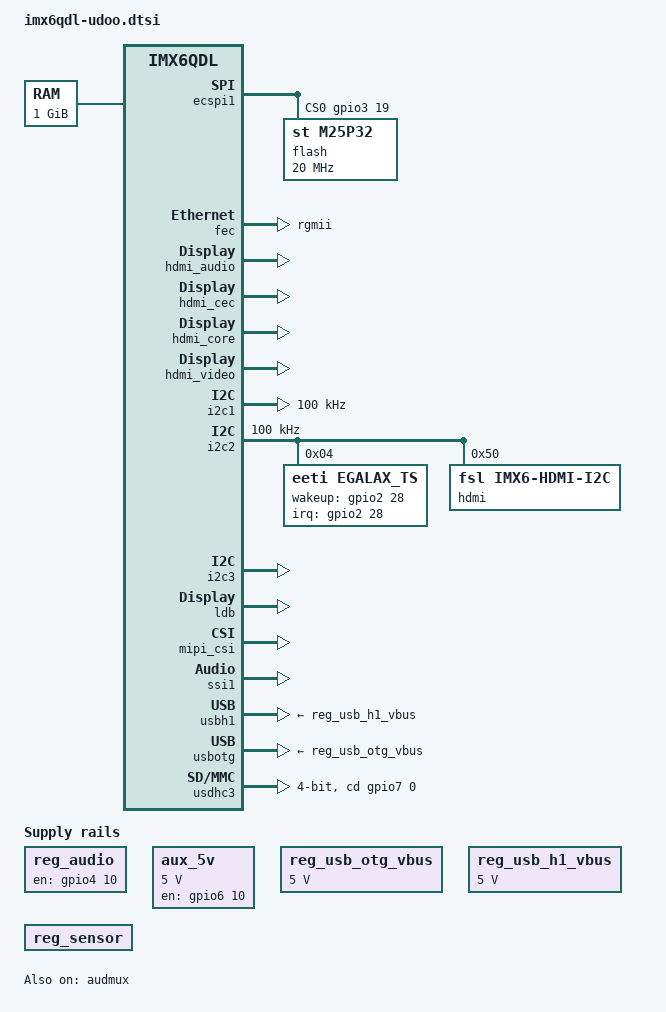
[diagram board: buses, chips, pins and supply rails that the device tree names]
/*
 * Copyright 2012 Freescale Semiconductor, Inc.
 * Copyright 2011 Linaro Ltd.
 *
 * The code contained herein is licensed under the GNU General Public
 * License. You may obtain a copy of the GNU General Public License
 * Version 2 or later at the following locations:
 *
 * http://www.opensource.org/licenses/gpl-license.html
 * http://www.gnu.org/copyleft/gpl.html
 */

/ {
	aliases {
		mxcfb0 = &mxcfb1;
		mxcfb1 = &mxcfb2;
		mxcfb2 = &mxcfb3;
		mxcfb3 = &mxcfb4;
	};

	memory {
                reg = <0x10000000 0x40000000>;

	};

//	clocks {
//		codec_osc: codec_osc {
//			compatible = "fixed-clock";
//			#clock-cells = <0>;
//			clock-frequency = <24576000>;
//		};
//	};
//
//	gpio-keys {
//		compatible = "gpio-keys";
//                power {
//                        label = "Power Button";
//                        gpios = <&gpio3 29 0>;
//                        linux,code = <116>; /* KEY_POWER */
//                        gpio-key,wakeup;
//                };
//
//                volume-up {
//                        label = "Volume Up";
//                        gpios = <&gpio1 4 0>;
//                        linux,code = <115>; /* KEY_VOLUMEUP */
//                };
//
//                volume-down {
//                        label = "Volume Down";
//                        gpios = <&gpio1 5 0>;
//                        linux,code = <114>; /* KEY_VOLUMEDOWN */
//                };
//	};

        mxcfb1: fb@0 {
                compatible = "fsl,mxc_sdc_fb";
                disp_dev = "hdmi";
                interface_pix_fmt = "RGB24";
                mode_str ="1920x1080M@60";
                default_bpp = <24>;
                int_clk = <0>;
                late_init = <0>;
                status = "okay";
        };

        mxcfb2: fb@1 {
                compatible = "fsl,mxc_sdc_fb";
                disp_dev = "hdmi";
                interface_pix_fmt = "RGB24";
                mode_str ="1920x1080M@60";
                default_bpp = <24>;
                int_clk = <0>;
                late_init = <0>;
                status = "disabled";
        };

        mxcfb3: fb@2 {
                compatible = "fsl,mxc_sdc_fb";
                disp_dev = "hdmi";
                interface_pix_fmt = "RGB24";
                mode_str ="1920x1080M@60";
                default_bpp = <24>;
                int_clk = <0>;
                late_init = <0>;
                status = "disabled";
        };

        mxcfb4: fb@3 {
                compatible = "fsl,mxc_sdc_fb";
                disp_dev = "hdmi";
                interface_pix_fmt = "RGB24";
                mode_str ="1920x1080M@60";
                default_bpp = <24>;
                int_clk = <0>;
                late_init = <0>;
                status = "disabled";
        };

        lcd@0 {
                compatible = "fsl,lcd";
                ipu_id = <0>;
                disp_id = <0>;
                default_ifmt = "RGB565";
                pinctrl-names = "default";
                pinctrl-0 = <&pinctrl_ipu1_1>;
                status = "disabled";
        };

        lvds_cabc_ctrl {
                lvds0-gpios = <&gpio6 15 0>;
                lvds1-gpios = <&gpio6 16 0>;
        };

	regulators {
		compatible = "simple-bus";
                reg_audio: 8962_supply {
                        compatible = "regulator-fixed";
                        regulator-name = "8962-SUPPLY";
                        gpio = <&gpio4 10 0>;
                        enable-active-high;
                };

                aux_5v: aux5v {
                        compatible = "regulator-fixed";
                        regulator-name = "AUX_5V";
                        regulator-min-microvolt = <5000000>;
                        regulator-max-microvolt = <5000000>;
                        gpio = <&gpio6 10 1>;
                        regulator-boot-on;
                        enable-active-high;
                };

                reg_usb_otg_vbus: usb_otg_vbus {
                        compatible = "regulator-fixed";
                        regulator-name = "usb_otg_vbus";
                        regulator-min-microvolt = <5000000>;
                        regulator-max-microvolt = <5000000>;
                        enable-active-high;
                };

                reg_usb_h1_vbus: usb_h1_vbus {
                        compatible = "regulator-fixed";
                        regulator-name = "usb_h1_vbus";
                        regulator-min-microvolt = <5000000>;
                        regulator-max-microvolt = <5000000>;
                        startup-delay-us = <2>; /* USB2415 requires a POR of 1 us minimum */
                        enable-active-high;
                };

                reg_sensor: sensor_supply {
                        compatible = "regulator-fixed";
                        regulator-name = "sensor-SUPPLY";
                        enable-active-high;
                };
	};

	codec: vt1613 {
		compatible = "wlf,vt1613";
		amic-mono;
       };

	sound {
		compatible = "fsl,imx6q-udoo-vt1613",
			   "fsl,imx-audio-vt1613";
		model = "vt1613-audio";
		ssi-controller = <&ssi1>;
		audio-codec = <&codec>;
		audio-routing =
			"Headphone Jack", "HPOUTL",
			"Headphone Jack", "HPOUTR",
			"Ext Spk", "SPKOUTL",
			"Ext Spk", "SPKOUTR",
			"MICBIAS", "AMIC",
			"IN3R", "MICBIAS",
			"DMIC", "MICBIAS",
			"DMICDAT", "DMIC";
		mux-int-port = <1>;
		mux-ext-port = <6>;
	};
//		hp-det-gpios = <&gpio7 8 1>;
//		mic-det-gpios = <&gpio1 9 1>;

	sound-hdmi {
		compatible = "fsl,imx6q-audio-hdmi",
			     "fsl,imx-audio-hdmi";
		model = "imx-audio-hdmi";
		hdmi-controller = <&hdmi_audio>;
	};

	sound-spdif {
		compatible = "fsl,imx-audio-spdif",
			   "fsl,imx-sabreauto-spdif";
		model = "imx-spdif";
		spdif-controller = <&spdif>;
		spdif-in;
		status = "disabled";
	};

	v4l2_cap_0 {
		compatible = "fsl,imx6q-v4l2-capture";
		ipu_id = <0>;
		csi_id = <0>;
		mclk_source = <0>;
		status = "okay";
	};

	v4l2_cap_1 {
		compatible = "fsl,imx6q-v4l2-capture";
		ipu_id = <0>;
		csi_id = <1>;
		mclk_source = <0>;
		status = "okay";
	};

	v4l2_out {
		compatible = "fsl,mxc_v4l2_output";
		status = "okay";
	};
};

&audmux {
	pinctrl-names = "default";
	pinctrl-0 = <&pinctrl_audmux_4>;
	status = "okay";
};

&ecspi1 {
	fsl,spi-num-chipselects = <1>;
	cs-gpios = <&gpio3 19 0>;
	pinctrl-names = "default";
	pinctrl-0 = <&pinctrl_ecspi1_1>;

	flash: m25p80@0 {
		#address-cells = <1>;
		#size-cells = <1>;
		compatible = "st,m25p32";
		spi-max-frequency = <20000000>;
		reg = <0>;
	};
};

&fec {
	pinctrl-names = "default";
	pinctrl-0 = <&pinctrl_enet_1>;
	driver-can-reset = "no";
	phy-mode = "rgmii";
	phy-poweron = <&gpio2 31 0>;
	phy-reset-gpio = <&gpio3 23 0>;
	phy-clk125-en = <&gpio6 24 1>;
	phy-mode0 = <&gpio6 29 1>;
	phy-mode1 = <&gpio6 28 1>;
	phy-mode2 = <&gpio6 27 1>;
	phy-mode3 = <&gpio6 25 1>;
	status = "okay";
};

&gpc {
	fsl,cpu_pupscr_sw2iso = <0xf>;
	fsl,cpu_pupscr_sw = <0xf>;
	fsl,cpu_pdnscr_iso2sw = <0x1>;
	fsl,cpu_pdnscr_iso = <0x1>;
};

&hdmi_audio {
	status = "okay";
};

&hdmi_cec {
	pinctrl-names = "default";
	pinctrl-0 = <&pinctrl_hdmi_cec_1>;
	status = "okay";
};

&hdmi_core {
	ipu_id = <0>;
	disp_id = <1>;
	status = "okay";
};

&hdmi_video {
	fsl,phy_reg_vlev = <0x0294>;
	fsl,phy_reg_cksymtx = <0x800d>;
	status = "okay";
};

&i2c1 {
	clock-frequency = <100000>;
	pinctrl-names = "default";
	pinctrl-0 = <&pinctrl_i2c1_2>;
	status = "okay";
};

&i2c2 {
	clock-frequency = <100000>;
	pinctrl-names = "default";
	pinctrl-0 = <&pinctrl_i2c2_2>;
	status = "okay";

	egalax_ts@04 {
		compatible = "eeti,egalax_ts";
		reg = <0x04>;
		interrupt-parent = <&gpio2>;
		interrupts = <28 2>;
		wakeup-gpios = <&gpio2 28 0>;
	};

	hdmi: edid@50 {
		compatible = "fsl,imx6-hdmi-i2c";
		reg = <0x50>;
	};
};

&i2c3 {
	pinctrl-names = "default";
	pinctrl-0 = <&pinctrl_i2c3_5>;
	status = "okay";
};

&iomuxc {
	pinctrl-names = "default";
	pinctrl-0 = <&pinctrl_hog>;

	hog {
		pinctrl_hog: hoggrp {
			fsl,pins = <
				MX6QDL_PAD_GPIO_0__GPIO1_IO00     0x80000000
				MX6QDL_PAD_GPIO_1__GPIO1_IO01     0x80000000
				MX6QDL_PAD_GPIO_2__GPIO1_IO02     0x80000000
				MX6QDL_PAD_GPIO_3__GPIO1_IO03     0x30B1
				MX6QDL_PAD_GPIO_4__GPIO1_IO04     0x80000000
				MX6QDL_PAD_GPIO_7__GPIO1_IO07     0x80000000
				MX6QDL_PAD_GPIO_8__GPIO1_IO08     0x80000000
				MX6QDL_PAD_GPIO_9__GPIO1_IO09     0x80000000
				MX6QDL_PAD_SD2_DAT2__GPIO1_IO13   0x34B1
				MX6QDL_PAD_SD2_DAT0__GPIO1_IO15   0x80000000
				MX6QDL_PAD_SD1_DAT0__GPIO1_IO16   0x80000000
				MX6QDL_PAD_SD1_DAT1__GPIO1_IO17   0x80000000
				MX6QDL_PAD_SD1_CMD__GPIO1_IO18    0x80000000
				MX6QDL_PAD_SD1_DAT2__GPIO1_IO19   0x80000000
				MX6QDL_PAD_SD1_CLK__GPIO1_IO20    0x80000000
				MX6QDL_PAD_SD1_DAT3__GPIO1_IO21   0x80000000
				MX6QDL_PAD_ENET_TX_EN__GPIO1_IO28 0x80000000
				MX6QDL_PAD_NANDF_D0__GPIO2_IO00   0x80000000
				MX6QDL_PAD_NANDF_D1__GPIO2_IO01   0x80000000
				MX6QDL_PAD_NANDF_D2__GPIO2_IO02   0x80000000
				MX6QDL_PAD_NANDF_D3__GPIO2_IO03   0x80000000
				MX6QDL_PAD_NANDF_D4__GPIO2_IO04   0x80000000
				MX6QDL_PAD_NANDF_D5__GPIO2_IO05   0x80000000
				MX6QDL_PAD_SD4_DAT0__GPIO2_IO08   0x80000000
				MX6QDL_PAD_SD4_DAT1__GPIO2_IO09   0x80000000
				MX6QDL_PAD_SD4_DAT2__GPIO2_IO10   0x80000000
				MX6QDL_PAD_SD4_DAT7__GPIO2_IO15   0x80000000
				MX6QDL_PAD_EIM_A22__GPIO2_IO16    0x80000000
				MX6QDL_PAD_EIM_A21__GPIO2_IO17    0x80000000
				MX6QDL_PAD_EIM_A20__GPIO2_IO18    0x80000000
				MX6QDL_PAD_EIM_A19__GPIO2_IO19    0x80000000
				MX6QDL_PAD_EIM_A18__GPIO2_IO20    0x80000000
				MX6QDL_PAD_EIM_A17__GPIO2_IO21    0x80000000
				MX6QDL_PAD_EIM_A16__GPIO2_IO22    0x80000000
				MX6QDL_PAD_EIM_CS0__GPIO2_IO23    0x80000000
				MX6QDL_PAD_EIM_CS1__GPIO2_IO24    0x80000000
				MX6QDL_PAD_EIM_OE__GPIO2_IO25     0x80000000
				MX6QDL_PAD_EIM_EB2__GPIO2_IO30    0x80000000
				MX6QDL_PAD_EIM_EB3__GPIO2_IO31    0x80000000
				MX6QDL_PAD_EIM_D19__GPIO3_IO19    0x80000000
				MX6QDL_PAD_EIM_D23__GPIO3_IO23    0x80000000
				MX6QDL_PAD_EIM_D24__GPIO3_IO24    0x80000000
				MX6QDL_PAD_EIM_D25__GPIO3_IO25    0x80000000
				MX6QDL_PAD_GPIO_19__GPIO4_IO05    0x80000000
				MX6QDL_PAD_KEY_COL0__GPIO4_IO06   0x80000000
				MX6QDL_PAD_KEY_ROW0__GPIO4_IO07   0x80000000
				MX6QDL_PAD_KEY_COL1__GPIO4_IO08   0x80000000
				MX6QDL_PAD_KEY_ROW1__GPIO4_IO09   0x80000000
				MX6QDL_PAD_DISP0_DAT0__GPIO4_IO21 0x30B1
				MX6QDL_PAD_DISP0_DAT5__GPIO4_IO26 0x80000000
				MX6QDL_PAD_DISP0_DAT6__GPIO4_IO27 0x80000000
				MX6QDL_PAD_DISP0_DAT7__GPIO4_IO28 0x80000000
				MX6QDL_PAD_DISP0_DAT8__GPIO4_IO29 0x80000000
				MX6QDL_PAD_DISP0_DAT9__GPIO4_IO30 0x80000000
				MX6QDL_PAD_DISP0_DAT10__GPIO4_IO31        0x80000000
				MX6QDL_PAD_EIM_WAIT__GPIO5_IO00   0xB0B1
				MX6QDL_PAD_EIM_A25__GPIO5_IO02    0x80000000
				MX6QDL_PAD_EIM_A24__GPIO5_IO04    0x80000000
				MX6QDL_PAD_DISP0_DAT11__GPIO5_IO05        0x80000000
				MX6QDL_PAD_DISP0_DAT12__GPIO5_IO06        0x80000000
				MX6QDL_PAD_DISP0_DAT13__GPIO5_IO07        0x80000000
				MX6QDL_PAD_DISP0_DAT14__GPIO5_IO08        0x80000000
				MX6QDL_PAD_DISP0_DAT15__GPIO5_IO09        0x80000000
				MX6QDL_PAD_DISP0_DAT16__GPIO5_IO10        0x80000000
				MX6QDL_PAD_DISP0_DAT17__GPIO5_IO11        0x80000000
				MX6QDL_PAD_DISP0_DAT18__GPIO5_IO12        0x80000000
				MX6QDL_PAD_DISP0_DAT19__GPIO5_IO13        0x80000000
				MX6QDL_PAD_DISP0_DAT20__GPIO5_IO14        0x80000000
				MX6QDL_PAD_DISP0_DAT21__GPIO5_IO15        0x80000000
				MX6QDL_PAD_DISP0_DAT22__GPIO5_IO16        0x80000000
				MX6QDL_PAD_DISP0_DAT23__GPIO5_IO17        0x80000000
				MX6QDL_PAD_CSI0_PIXCLK__GPIO5_IO18        0x80000000
				MX6QDL_PAD_CSI0_DAT4__GPIO5_IO22  0x80000000
				MX6QDL_PAD_CSI0_DAT10__GPIO5_IO28 0x80000000
				MX6QDL_PAD_CSI0_DAT11__GPIO5_IO29 0x80000000
				MX6QDL_PAD_CSI0_DAT13__GPIO5_IO31 0x80000000
				MX6QDL_PAD_CSI0_DAT12__GPIO5_IO30 0x80000000
				MX6QDL_PAD_CSI0_DAT14__GPIO6_IO00 0x80000000
				MX6QDL_PAD_CSI0_DAT15__GPIO6_IO01 0x80000000
				MX6QDL_PAD_CSI0_DAT16__GPIO6_IO02 0x80000000
				MX6QDL_PAD_CSI0_DAT17__GPIO6_IO03 0x80000000
				MX6QDL_PAD_CSI0_DAT18__GPIO6_IO04 0x80000000
				MX6QDL_PAD_CSI0_DAT19__GPIO6_IO05 0x80000000
				MX6QDL_PAD_EIM_A23__GPIO6_IO06    0x80000000
				MX6QDL_PAD_NANDF_CS0__GPIO6_IO11  0x80000000
				MX6QDL_PAD_RGMII_RX_CTL__GPIO6_IO24       0x80000000
				MX6QDL_PAD_RGMII_RD0__GPIO6_IO25  0x80000000
				MX6QDL_PAD_RGMII_RD1__GPIO6_IO27  0x80000000
				MX6QDL_PAD_RGMII_RD2__GPIO6_IO28  0x80000000
				MX6QDL_PAD_RGMII_RD3__GPIO6_IO29  0x80000000
				MX6QDL_PAD_SD3_DAT5__GPIO7_IO00   0x80000000
				MX6QDL_PAD_GPIO_16__GPIO7_IO11    0x80000000
				MX6QDL_PAD_GPIO_17__GPIO7_IO12    0x80000000
				MX6QDL_PAD_GPIO_18__GPIO7_IO13    0x80000000
				MX6QDL_PAD_NANDF_CS2__CCM_CLKO2   0x130b0
			>;
		};
	};
};

&ldb {
	ipu_id = <1>;
	disp_id = <0>;
	ext_ref = <1>;
	mode = "sep0";
	sec_ipu_id = <1>;
	sec_disp_id = <1>;
	status = "okay";
};

&mipi_csi {
	status = "okay";
	ipu_id = <0>;
	csi_id = <1>;
	v_channel = <0>;
	lanes = <1>;
};

&pwm3 {
	pinctrl-names = "default";
	pinctrl-0 = <&pinctrl_pwm3_1>;
	status = "disabled";
};

&spdif {
	pinctrl-names = "default";
	pinctrl-0 = <&pinctrl_spdif_1>;
	status = "disabled";
};

&ssi1 {
	fsl,mode = "ac97-slave";
		codec-handle = <1>;
		ac97-reset = <&gpio2 30 0>;
	status = "okay";
};

//	status = "disabled";
//	status = "okay";

&gpmi {
	pinctrl-names = "default";
	pinctrl-0 = <&pinctrl_gpmi_nand_1>;
	status = "disabled"; /* pin conflict with uart3 */
};

&uart4 {
	pinctrl-names = "default";
	pinctrl-0 = <&pinctrl_uart4_1>;
	status = "disabled";
};

&usbh1 {
	vbus-supply = <&reg_usb_h1_vbus>;
	status = "okay";
};

&usbotg {
	vbus-supply = <&reg_usb_otg_vbus>;
	pinctrl-names = "default";
	status = "okay";
};
//	pinctrl-0 = <&pinctrl_usbotg_2>;

&usdhc3 {
	pinctrl-names = "default", "state_100mhz", "state_200mhz";
	pinctrl-0 = <&pinctrl_usdhc3_1>;
	pinctrl-1 = <&pinctrl_usdhc3_1_100mhz>;
	pinctrl-2 = <&pinctrl_usdhc3_1_200mhz>;
	cd-gpios = <&gpio7 0 0>;
	bus-width = <4>;
	keep-power-in-suspend;
	enable-sdio-wakeup;
	no-1-8-v;
	status = "okay";
};

&weim {
	pinctrl-names = "default";
	pinctrl-0 = <&pinctrl_weim_nor_1 &pinctrl_weim_cs0_1>;
	#address-cells = <2>;
	#size-cells = <1>;
	ranges = <0 0 0x08000000 0x08000000>;
	status = "disabled"; /* pin conflict with ecspi1, i2c3 and uart3 */

	nor@0,0 {
		compatible = "cfi-flash";
		reg = <0 0 0x02000000>;
		#address-cells = <1>;
		#size-cells = <1>;
		bank-width = <2>;
		fsl,weim-cs-timing = <0x00620081 0x00000001 0x1c022000
				0x0000c000 0x1404a38e 0x00000000>;
	};
};
